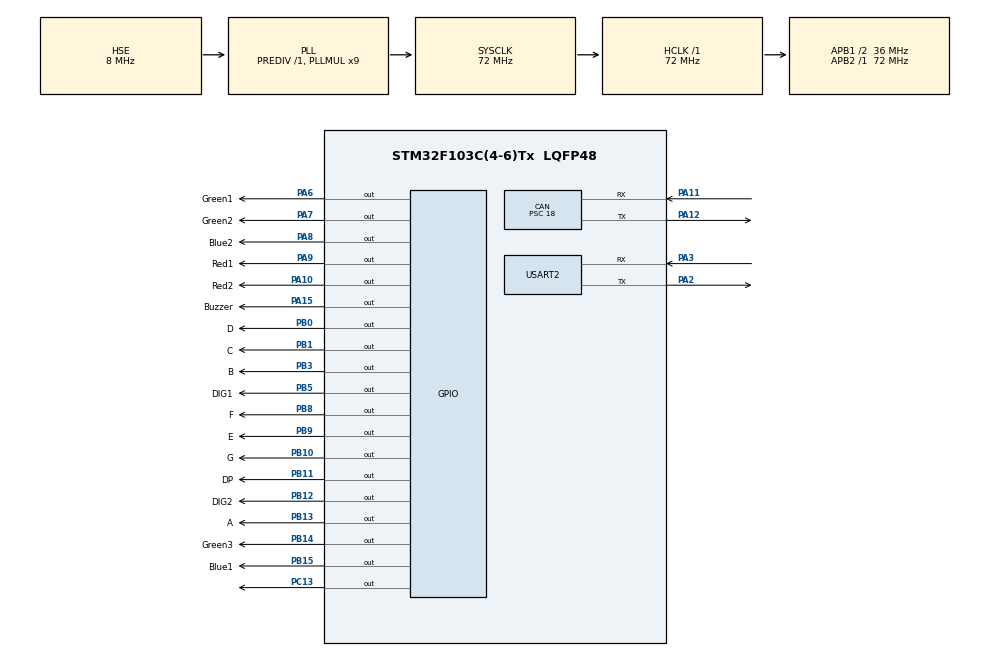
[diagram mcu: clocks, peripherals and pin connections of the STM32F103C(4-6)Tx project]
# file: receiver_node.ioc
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CAN.BS1=CAN_BS1_2TQ
CAN.CalculateBaudRate=500000
CAN.CalculateTimeBit=2000.00
CAN.CalculateTimeQuantum=500.0
CAN.Prescaler=18
FREERTOS.HEAP_NUMBER=4
FREERTOS.Tasks01=defaultTask,24,128,StartDefaultTask,Default,NULL,Dynamic,NULL,NULL;serialTask,24,128,serialTask_init,Default,NULL,Dynamic,NULL,NULL;buzzerTask,24,128,buzzerTask_init,Default,NULL,Dynamic,NULL,NULL;lcdTask,24,128,lcdTask_init,Default,NULL,Dynamic,NULL,NULL
FREERTOS.configTOTAL_HEAP_SIZE=2700
Mcu.Family=STM32F1
Mcu.Name=STM32F103C(4-6)Tx
Mcu.Package=LQFP48
NVIC.PriorityGroup=NVIC_PRIORITYGROUP_4
NVIC.TIM2_IRQn=true\:15\:0\:false\:false\:true\:false\:false\:true
NVIC.TimeBase=TIM2_IRQn
NVIC.TimeBaseIP=TIM2
NVIC.USART2_IRQn=true\:5\:0\:false\:false\:true\:true\:true\:true
NVIC.USB_LP_CAN1_RX0_IRQn=true\:5\:0\:false\:false\:true\:true\:true\:true
PA10.GPIO_Label=Red2
PA10.Signal=GPIO_Output
PA11.Mode=CAN_Activate
PA11.Signal=CAN_RX
PA12.Mode=CAN_Activate
PA12.Signal=CAN_TX
PA13.Mode=Serial_Wire
PA13.Signal=SYS_JTMS-SWDIO
PA14.Mode=Serial_Wire
PA14.Signal=SYS_JTCK-SWCLK
PA15.GPIO_Label=Buzzer
PA15.Signal=GPIO_Output
PA2.Mode=Asynchronous
PA2.Signal=USART2_TX
PA3.Mode=Asynchronous
PA3.Signal=USART2_RX
PA6.GPIO_Label=Green1
PA6.Signal=GPIO_Output
PA7.GPIO_Label=Green2
PA7.Signal=GPIO_Output
PA8.GPIO_Label=Blue2
PA8.Signal=GPIO_Output
PA9.GPIO_Label=Red1
PA9.Signal=GPIO_Output
PB0.GPIO_Label=D
PB0.Signal=GPIO_Output
PB1.GPIO_Label=C
PB1.Signal=GPIO_Output
PB10.GPIO_Label=G
PB10.Signal=GPIO_Output
PB11.GPIO_Label=DP
PB11.Signal=GPIO_Output
PB12.GPIO_Label=DIG2
PB12.Signal=GPIO_Output
PB13.GPIO_Label=A
PB13.Signal=GPIO_Output
PB14.GPIO_Label=Green3
PB14.Signal=GPIO_Output
PB15.GPIO_Label=Blue1
PB15.Signal=GPIO_Output
PB3.GPIO_Label=B
PB3.Signal=GPIO_Output
PB5.GPIO_Label=DIG1
PB5.Signal=GPIO_Output
PB8.GPIO_Label=F
PB8.Signal=GPIO_Output
PB9.GPIO_Label=E
PB9.Signal=GPIO_Output
PC13-TAMPER-RTC.Signal=GPIO_Output
PD0-OSC_IN.Mode=HSE-External-Oscillator
PD0-OSC_IN.Signal=RCC_OSC_IN
PD1-OSC_OUT.Mode=HSE-External-Oscillator
PD1-OSC_OUT.Signal=RCC_OSC_OUT
ProjectManager.HeapSize=0x200
ProjectManager.StackSize=0x400
ProjectManager.TargetToolchain=MDK-ARM V5.32
RCC.AHBFreq_Value=72000000
RCC.APB1CLKDivider=RCC_HCLK_DIV2
RCC.APB1Freq_Value=36000000
RCC.APB1TimFreq_Value=72000000
RCC.APB2Freq_Value=72000000
RCC.APB2TimFreq_Value=72000000
RCC.HCLKFreq_Value=72000000
RCC.PLLMUL=RCC_PLL_MUL9
RCC.PLLSourceVirtual=RCC_PLLSOURCE_HSE
RCC.SYSCLKFreq_VALUE=72000000
RCC.SYSCLKSource=RCC_SYSCLKSOURCE_PLLCLK
RCC.USBFreq_Value=72000000
USART2.VirtualMode=VM_ASYNC
VP_FREERTOS_VS_CMSIS_V2.Mode=CMSIS_V2
VP_SYS_VS_tim2.Mode=TIM2
board=custom

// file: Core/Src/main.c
/**
 * @file    	main.c
 * @defgroup 	Receiver_Node Receiver Node
 * @ingroup 	Receiver_Node
 * @brief 		CAN Receiver node for the Reversing Radar system.
 *
 * This node receives distance data via CAN and displays it
 * using LEDs and a 7-segment display.
 *
 */
#include "main.h"
#include "cmsis_os.h"

#include "app_tasks.h"
#include "leds.h"
#include "sevenseg.h"
#include <stdio.h>
#include <string.h>

CAN_HandleTypeDef hcan;
UART_HandleTypeDef huart2;

/* Definitions for defaultTask */
osThreadId_t defaultTaskHandle;

/* Definitions for serialTask */
osThreadId_t serialTaskHandle;

/* Definitions for buzzerTask */
osThreadId_t buzzerTaskHandle;

/* Definitions for lcdTask */
osThreadId_t lcdTaskHandle;

/* Buffers and variables for CAN, UART, and display */
float Distance;
int time = 500;
char Buffer[8];
char lcdBuffer[8];
uint8_t RxData[8];
uint32_t TxMailbox;
uint8_t digit1, digit2;

/* CAN Tx/Rx headers */
CAN_TxHeaderTypeDef TxHeader;
CAN_RxHeaderTypeDef RxHeader;

void SystemClock_Config(void);
static void MX_GPIO_Init(void);
static void MX_CAN_Init(void);
static void MX_USART2_UART_Init(void);

/**
 * @fn void HAL_CAN_RxFifo0MsgPendingCallback(CAN_HandleTypeDef *hcan)
 * @brief  CAN RX FIFO 0 message pending callback.
 *
 * @note This callback is invoked by the HAL when a CAN message is received
 * in FIFO0. The received frame is read and stored in the RX buffer.
 * In case of reception error, an error indicator LED is activated.
 *
 * @param  hcan Pointer to the CAN handle.
 * @retval None
 */
void HAL_CAN_RxFifo0MsgPendingCallback(CAN_HandleTypeDef *hcan)
{
    if(HAL_CAN_GetRxMessage(hcan, CAN_RX_FIFO0, &RxHeader, RxData) != HAL_OK)
    {
        HAL_GPIO_WritePin(GPIOC, GPIO_PIN_13, GPIO_PIN_SET); /* Error indicator */
    }
}

int main(void)
{
  /* Reset of all peripherals, Initializes the Flash interface and the Systick. */
  HAL_Init();

  /* Configure the system clock */
  SystemClock_Config();

  /* Initialize all configured peripherals */
  MX_GPIO_Init();
	HAL_GPIO_WritePin(GPIOC, GPIO_PIN_13, GPIO_PIN_RESET);
  MX_CAN_Init();
  MX_USART2_UART_Init();

	/* Start CAN and activate receive interrupt */
   HAL_CAN_Start(&hcan);
   HAL_CAN_ActivateNotification(&hcan, CAN_IT_RX_FIFO0_MSG_PENDING);

  /* Init scheduler */
  osKernelInitialize();

  /* Create FreeRTOS tasks */
  defaultTaskHandle = osThreadNew(StartDefaultTask, NULL, &(osThreadAttr_t){.name="defaultTask", .stack_size=128 * 4, .priority=osPriorityNormal});
  serialTaskHandle = osThreadNew(serialTask_init, NULL, &(osThreadAttr_t){.name="serialTask", .stack_size=128 * 4, .priority=osPriorityNormal});
  buzzerTaskHandle = osThreadNew(buzzerTask_init, NULL, &(osThreadAttr_t){.name="buzzerTask", .stack_size=128 * 4, .priority=osPriorityNormal});
  lcdTaskHandle = osThreadNew(lcdTask_init, NULL, &(osThreadAttr_t){.name="lcdTask", .stack_size=128 * 4, .priority=osPriorityNormal});

  /* Start scheduler */
  osKernelStart();

  /* We should never get here as control is now taken by the scheduler */
  /* Infinite loop */
  while (1)
  {
	}
}

void SystemClock_Config(void)
{
  RCC_OscInitTypeDef RCC_OscInitStruct = {0};
  RCC_ClkInitTypeDef RCC_ClkInitStruct = {0};

  /** Initializes the RCC Oscillators according to the specified parameters
  * in the RCC_OscInitTypeDef structure.
  */
  RCC_OscInitStruct.OscillatorType = RCC_OSCILLATORTYPE_HSE;
  RCC_OscInitStruct.HSEState = RCC_HSE_ON;
  RCC_OscInitStruct.HSEPredivValue = RCC_HSE_PREDIV_DIV1;
  RCC_OscInitStruct.HSIState = RCC_HSI_ON;
  RCC_OscInitStruct.PLL.PLLState = RCC_PLL_ON;
  RCC_OscInitStruct.PLL.PLLSource = RCC_PLLSOURCE_HSE;
  RCC_OscInitStruct.PLL.PLLMUL = RCC_PLL_MUL9;
  if (HAL_RCC_OscConfig(&RCC_OscInitStruct) != HAL_OK)
  {
    Error_Handler();
  }
  /** Initializes the CPU, AHB and APB buses clocks
  */
  RCC_ClkInitStruct.ClockType = RCC_CLOCKTYPE_HCLK|RCC_CLOCKTYPE_SYSCLK
                              |RCC_CLOCKTYPE_PCLK1|RCC_CLOCKTYPE_PCLK2;
  RCC_ClkInitStruct.SYSCLKSource = RCC_SYSCLKSOURCE_PLLCLK;
  RCC_ClkInitStruct.AHBCLKDivider = RCC_SYSCLK_DIV1;
  RCC_ClkInitStruct.APB1CLKDivider = RCC_HCLK_DIV2;
  RCC_ClkInitStruct.APB2CLKDivider = RCC_HCLK_DIV1;

  if (HAL_RCC_ClockConfig(&RCC_ClkInitStruct, FLASH_LATENCY_2) != HAL_OK)
  {
    Error_Handler();
  }
}

static void MX_CAN_Init(void)
{

  hcan.Instance = CAN1;
  hcan.Init.Prescaler = 18;
  hcan.Init.Mode = CAN_MODE_NORMAL;
  hcan.Init.SyncJumpWidth = CAN_SJW_1TQ;
  hcan.Init.TimeSeg1 = CAN_BS1_2TQ;
  hcan.Init.TimeSeg2 = CAN_BS2_1TQ;
  hcan.Init.TimeTriggeredMode = DISABLE;
  hcan.Init.AutoBusOff = DISABLE;
  hcan.Init.AutoWakeUp = DISABLE;
  hcan.Init.AutoRetransmission = DISABLE;
  hcan.Init.ReceiveFifoLocked = DISABLE;
  hcan.Init.TransmitFifoPriority = DISABLE;
  if (HAL_CAN_Init(&hcan) != HAL_OK)
  {
    Error_Handler();
  }
	/* USER CODE BEGIN CAN_Config */
	/**
	* @brief  Configure CAN filter for receiving messages
	* @details
	* This block sets up the CAN filter to accept messages from the
	* transmitter node with ID 0x103. Only messages matching this
	* ID will trigger the RX FIFO0 message pending callback.
	*/
    TxHeader.DLC = 2;
    TxHeader.ExtId = 0;
    TxHeader.IDE = CAN_ID_STD;      /**< Standard CAN frame */
    TxHeader.RTR = CAN_RTR_DATA;    /**< Data frame */
    TxHeader.StdId = 0x104;         /**< STM32F103 transmitter ID */
    TxHeader.TransmitGlobalTime = DISABLE;

    CAN_FilterTypeDef canfilterconfig;
    canfilterconfig.FilterActivation = CAN_FILTER_ENABLE;
    canfilterconfig.FilterBank = 1;                   /**< Filter bank index */
    canfilterconfig.FilterFIFOAssignment = CAN_RX_FIFO0;
    canfilterconfig.FilterIdHigh = 0x103 << 5;        /**< Filter for ID 0x103 */
    canfilterconfig.FilterIdLow = 0x0000;
    canfilterconfig.FilterMaskIdHigh = 0x103 << 5;    /**< Mask for ID 0x103 */
    canfilterconfig.FilterMaskIdLow = 0x0000;
    canfilterconfig.FilterMode = CAN_FILTERMODE_IDMASK;
    canfilterconfig.FilterScale = CAN_FILTERSCALE_32BIT;
    canfilterconfig.SlaveStartFilterBank = 0;         /**< Number of filters for master CAN */

    HAL_CAN_ConfigFilter(&hcan, &canfilterconfig);
    /* USER CODE END CAN_Config */
}

static void MX_USART2_UART_Init(void)
{

  huart2.Instance = USART2;
  huart2.Init.BaudRate = 115200;
  huart2.Init.WordLength = UART_WORDLENGTH_8B;
  huart2.Init.StopBits = UART_STOPBITS_1;
  huart2.Init.Parity = UART_PARITY_NONE;
  huart2.Init.Mode = UART_MODE_TX_RX;
  huart2.Init.HwFlowCtl = UART_HWCONTROL_NONE;
  huart2.Init.OverSampling = UART_OVERSAMPLING_16;
  if (HAL_UART_Init(&huart2) != HAL_OK)
  {
    Error_Handler();
  }

}

static void MX_GPIO_Init(void)
{
  GPIO_InitTypeDef GPIO_InitStruct = {0};

  /* GPIO Ports Clock Enable */
  __HAL_RCC_GPIOC_CLK_ENABLE();
  __HAL_RCC_GPIOD_CLK_ENABLE();
  __HAL_RCC_GPIOA_CLK_ENABLE();
  __HAL_RCC_GPIOB_CLK_ENABLE();

  /*Configure GPIO pin Output Level */
  HAL_GPIO_WritePin(GPIOC, GPIO_PIN_13, GPIO_PIN_RESET);

  /*Configure GPIO pin Output Level */
  HAL_GPIO_WritePin(GPIOA, Green1_Pin|Green2_Pin|Blue2_Pin|Red1_Pin
                          |Red2_Pin|Buzzer_Pin, GPIO_PIN_RESET);

  /*Configure GPIO pin Output Level */
  HAL_GPIO_WritePin(GPIOB, D_Pin|C_Pin|G_Pin|DP_Pin
                          |DIG2_Pin|A_Pin|Green3_Pin|Blue1_Pin
                          |B_Pin|DIG1_Pin|F_Pin|E_Pin, GPIO_PIN_RESET);

  /*Configure GPIO pin : PC13 */
  GPIO_InitStruct.Pin = GPIO_PIN_13;
  GPIO_InitStruct.Mode = GPIO_MODE_OUTPUT_PP;
  GPIO_InitStruct.Pull = GPIO_NOPULL;
  GPIO_InitStruct.Speed = GPIO_SPEED_FREQ_LOW;
  HAL_GPIO_Init(GPIOC, &GPIO_InitStruct);

  /*Configure GPIO pins : Green1_Pin Green2_Pin Blue2_Pin Red1_Pin
                           Red2_Pin Buzzer_Pin */
  GPIO_InitStruct.Pin = Green1_Pin|Green2_Pin|Blue2_Pin|Red1_Pin
                          |Red2_Pin|Buzzer_Pin;
  GPIO_InitStruct.Mode = GPIO_MODE_OUTPUT_PP;
  GPIO_InitStruct.Pull = GPIO_NOPULL;
  GPIO_InitStruct.Speed = GPIO_SPEED_FREQ_LOW;
  HAL_GPIO_Init(GPIOA, &GPIO_InitStruct);

  /*Configure GPIO pins : D_Pin C_Pin G_Pin DP_Pin
                           DIG2_Pin A_Pin Green3_Pin Blue1_Pin
                           B_Pin DIG1_Pin F_Pin E_Pin */
  GPIO_InitStruct.Pin = D_Pin|C_Pin|G_Pin|DP_Pin
                          |DIG2_Pin|A_Pin|Green3_Pin|Blue1_Pin
                          |B_Pin|DIG1_Pin|F_Pin|E_Pin;
  GPIO_InitStruct.Mode = GPIO_MODE_OUTPUT_PP;
  GPIO_InitStruct.Pull = GPIO_NOPULL;
  GPIO_InitStruct.Speed = GPIO_SPEED_FREQ_LOW;
  HAL_GPIO_Init(GPIOB, &GPIO_InitStruct);

}

void HAL_TIM_PeriodElapsedCallback(TIM_HandleTypeDef *htim)
{
  if (htim->Instance == TIM2) {
    HAL_IncTick();
  }
}

void Error_Handler(void)
{
  __disable_irq();
  while (1)
  {
  }
}

/************************ (C) COPYRIGHT STMicroelectronics *****END OF FILE****/
